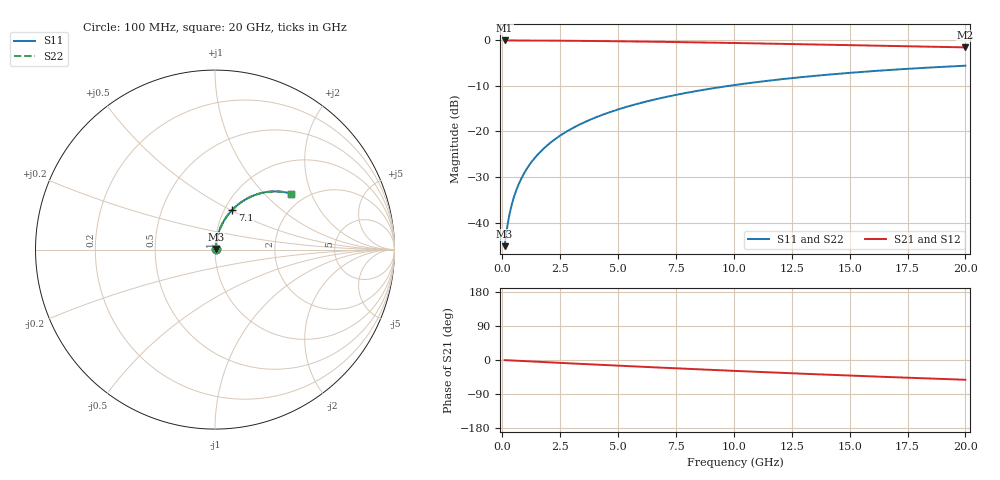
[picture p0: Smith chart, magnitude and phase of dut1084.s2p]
! Touchstone file exported from HFSS 2026.1.0
!  File:  C:/ffzhzh/LocalFiles/Ansys_Project_Files/temp_train_TMRDL_1084_1783160965_43440.aedt
!  Generated:  06:30:47 PM Jul  4, 2026
!  Design:  TMRDL
!  Project:  temp_train_TMRDL_1084_1783160965_43440
! Variables:
!  h_bsmrdl = 2um
!  h_ox = 20um
!  h_rdl = 5um
!  h_sub = 80um
!  h_tmrdl = 5.54um
!  h_tsv = 80um
!  h_via = 3um
!  l_bsmrdl = 300um
!  l_sub = 1163.12um
!  l_tmrdl = 763.12um
!  m_sub = 200um
!  pitch = 45.69um
!  r_tsv = 6um
!  s_tmrdl = 10um
!  w_bsmrdl = 18um
!  w_sub = 500um
!  w_tmrdl = 12.23um
!  x_tsv_center1 = 769.235um
!  x_tsv_center2 = 1087.235um
!  x_tsv_center3 = 1862.585um
!  x_tsv_center4 = 2180.585um
!  x_tsv_center5 = 2955.935um
!  x_tsv_center6 = 3273.935um
# GHz S MA R 50.000000
! Terminal data exported
! Port[1] = TM_RDL1_1_T1
! Port[2] = TM_RDL1_1_T2
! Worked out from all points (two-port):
!   200 points, 100 MHz to 20 GHz, reference 50 ohm
!   highest |S21| = -0.03 dB at 100 MHz (marker M1); lowest = -1.6 dB at 20 GHz (marker M2)
!   |S21| within 3 dB of the highest: start of sweep to end of sweep
!   lowest |S11| = -45.2 dB at 100 MHz (marker M3), VSWR 1.01, Z = 50.4 + j0.378 ohm
!   |S11| at or under -10 dB: start of sweep to 9.783 GHz
!   |S22| runs from -45.2 to -5.6 dB; largest |S21 - S12| = 5e-15
!   S11 on the Smith chart (normalised r, x): 100 MHz: 1.01, +0.01; 7.1 GHz: 1.09, +0.51; 20 GHz: 1.69, +1.45
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0.1  0.00551 42.9  0.996 -0.3  0.996 -0.3  0.00551 42.9
! Gamma 0 0 0 0
! Port Impedance 50 0 50 0
0.2  0.008557 60.7  0.9959 -0.6  0.9959 -0.6  0.008557 60.7
0.3  0.01196 68.4  0.9957 -0.9  0.9957 -0.9  0.01196 68.4
0.4  0.01545 72.6  0.9956 -1.2  0.9956 -1.2  0.01545 72.6
0.5  0.01897 75.1  0.9954 -1.5  0.9954 -1.5  0.01897 75.1
0.6  0.02252 76.7  0.9953 -1.9  0.9953 -1.9  0.02252 76.7
0.8  0.02964 78.6  0.995 -2.5  0.995 -2.5  0.02964 78.6
1.1  0.04037 79.8  0.9944 -3.4  0.9944 -3.4  0.04037 79.8
1.5  0.05466 80.1  0.9934 -4.6  0.9934 -4.6  0.05466 80.1
1.8  0.06534 79.8  0.9926 -5.5  0.9926 -5.5  0.06534 79.8
2.1  0.07596 79.4  0.9915 -6.4  0.9915 -6.4  0.07596 79.4
2.7  0.09699 78.1  0.9891 -8.2  0.9891 -8.2  0.09699 78.1
3.5  0.1245 76.2  0.9852 -10.6  0.9852 -10.6  0.1245 76.2
4.2  0.1481 74.4  0.9812 -12.6  0.9812 -12.6  0.148 74.4
5  0.1743 72.2  0.976 -14.9  0.976 -14.9  0.1743 72.2
6.8  0.2308 67.4  0.9627 -20.0  0.9627 -20.0  0.2308 67.4
7.1  0.2399 66.6  0.9603 -20.8  0.9603 -20.8  0.2399 66.6
8.5  0.2808 63.0  0.9483 -24.7  0.9483 -24.7  0.2808 63.0
10.1  0.3247 58.9  0.9335 -28.9  0.9335 -28.9  0.3247 58.9
13.4  0.4052 50.9  0.9009 -37.2  0.9009 -37.2  0.4051 50.9
16.7  0.4721 43.3  0.8676 -45.0  0.8676 -45.0  0.4721 43.4
20  0.5265 36.3  0.8361 -52.2  0.8361 -52.2  0.5264 36.4
